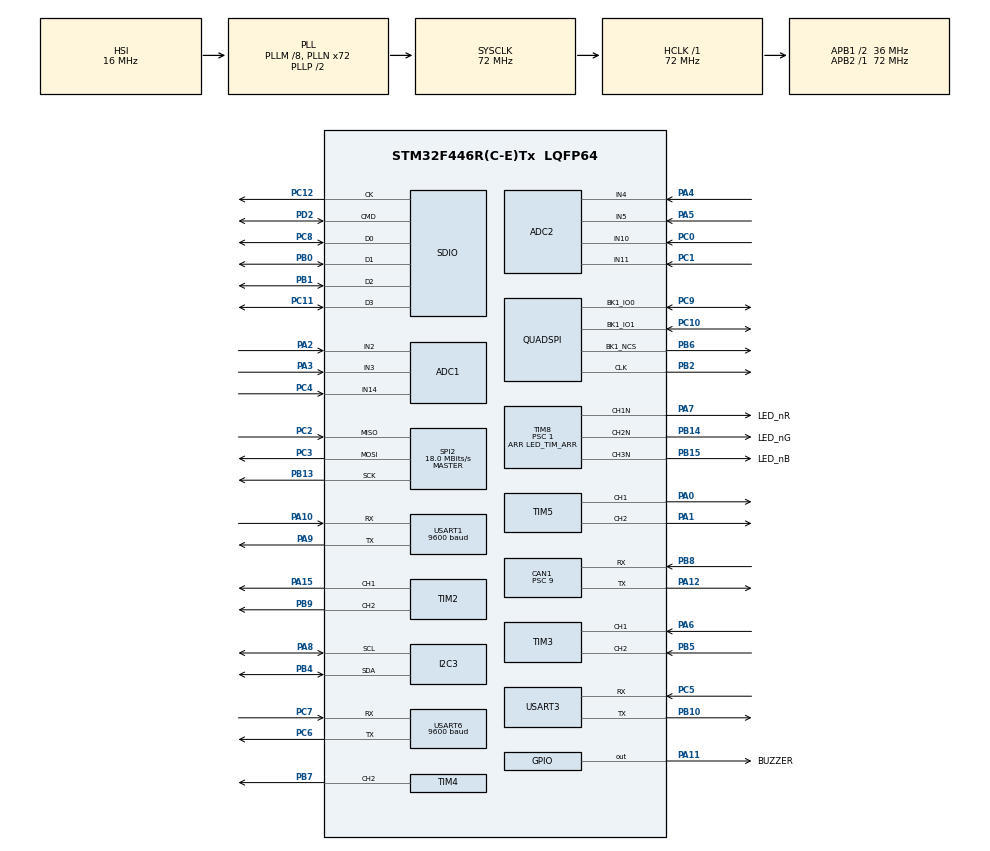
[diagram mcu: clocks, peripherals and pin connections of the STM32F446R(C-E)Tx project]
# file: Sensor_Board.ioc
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ADC1.Channel-95\#ChannelRegularConversion=ADC_CHANNEL_2
ADC1.NbrOfConversionFlag=1
ADC1.Rank-95\#ChannelRegularConversion=1
ADC1.SamplingTime-95\#ChannelRegularConversion=ADC_SAMPLETIME_3CYCLES
ADC1.master=1
ADC2.Channel-88\#ChannelRegularConversion=ADC_CHANNEL_4
ADC2.NbrOfConversionFlag=1
ADC2.Rank-88\#ChannelRegularConversion=1
ADC2.SamplingTime-88\#ChannelRegularConversion=ADC_SAMPLETIME_3CYCLES
CAN1.BS1=CAN_BS1_13TQ
CAN1.BS2=CAN_BS2_2TQ
CAN1.CalculateTimeQuantum=250.0
CAN1.Prescaler=9
Dma.I2C3_RX.2.Direction=DMA_PERIPH_TO_MEMORY
Dma.I2C3_RX.2.FIFOMode=DMA_FIFOMODE_DISABLE
Dma.I2C3_RX.2.Instance=DMA1_Stream2
Dma.I2C3_RX.2.MemDataAlignment=DMA_MDATAALIGN_BYTE
Dma.I2C3_RX.2.MemInc=DMA_MINC_ENABLE
Dma.I2C3_RX.2.Mode=DMA_NORMAL
Dma.I2C3_RX.2.PeriphDataAlignment=DMA_PDATAALIGN_BYTE
Dma.I2C3_RX.2.PeriphInc=DMA_PINC_DISABLE
Dma.I2C3_RX.2.Priority=DMA_PRIORITY_LOW
Dma.Request0=SDIO_RX
Dma.Request1=SDIO_TX
Dma.Request2=I2C3_RX
Dma.Request3=USART3_RX
Dma.Request4=USART3_TX
Dma.SDIO_RX.0.Direction=DMA_PERIPH_TO_MEMORY
Dma.SDIO_RX.0.FIFOMode=DMA_FIFOMODE_ENABLE
Dma.SDIO_RX.0.FIFOThreshold=DMA_FIFO_THRESHOLD_FULL
Dma.SDIO_RX.0.Instance=DMA2_Stream6
Dma.SDIO_RX.0.MemBurst=DMA_MBURST_INC4
Dma.SDIO_RX.0.MemDataAlignment=DMA_MDATAALIGN_WORD
Dma.SDIO_RX.0.MemInc=DMA_MINC_ENABLE
Dma.SDIO_RX.0.Mode=DMA_PFCTRL
Dma.SDIO_RX.0.PeriphBurst=DMA_PBURST_INC4
Dma.SDIO_RX.0.PeriphDataAlignment=DMA_PDATAALIGN_WORD
Dma.SDIO_RX.0.PeriphInc=DMA_PINC_DISABLE
Dma.SDIO_RX.0.Priority=DMA_PRIORITY_LOW
Dma.SDIO_TX.1.Direction=DMA_MEMORY_TO_PERIPH
Dma.SDIO_TX.1.FIFOMode=DMA_FIFOMODE_ENABLE
Dma.SDIO_TX.1.FIFOThreshold=DMA_FIFO_THRESHOLD_FULL
Dma.SDIO_TX.1.Instance=DMA2_Stream3
Dma.SDIO_TX.1.MemBurst=DMA_MBURST_INC4
Dma.SDIO_TX.1.MemDataAlignment=DMA_MDATAALIGN_WORD
Dma.SDIO_TX.1.MemInc=DMA_MINC_ENABLE
Dma.SDIO_TX.1.Mode=DMA_PFCTRL
Dma.SDIO_TX.1.PeriphBurst=DMA_PBURST_INC4
Dma.SDIO_TX.1.PeriphDataAlignment=DMA_PDATAALIGN_WORD
Dma.SDIO_TX.1.PeriphInc=DMA_PINC_DISABLE
Dma.SDIO_TX.1.Priority=DMA_PRIORITY_LOW
Dma.USART3_RX.3.Direction=DMA_PERIPH_TO_MEMORY
Dma.USART3_RX.3.FIFOMode=DMA_FIFOMODE_DISABLE
Dma.USART3_RX.3.Instance=DMA1_Stream1
Dma.USART3_RX.3.MemDataAlignment=DMA_MDATAALIGN_BYTE
Dma.USART3_RX.3.MemInc=DMA_MINC_ENABLE
Dma.USART3_RX.3.Mode=DMA_NORMAL
Dma.USART3_RX.3.PeriphDataAlignment=DMA_PDATAALIGN_BYTE
Dma.USART3_RX.3.PeriphInc=DMA_PINC_DISABLE
Dma.USART3_RX.3.Priority=DMA_PRIORITY_LOW
Dma.USART3_TX.4.Direction=DMA_MEMORY_TO_PERIPH
Dma.USART3_TX.4.FIFOMode=DMA_FIFOMODE_DISABLE
Dma.USART3_TX.4.Instance=DMA1_Stream4
Dma.USART3_TX.4.MemDataAlignment=DMA_MDATAALIGN_BYTE
Dma.USART3_TX.4.MemInc=DMA_MINC_ENABLE
Dma.USART3_TX.4.Mode=DMA_NORMAL
Dma.USART3_TX.4.PeriphDataAlignment=DMA_PDATAALIGN_BYTE
Dma.USART3_TX.4.PeriphInc=DMA_PINC_DISABLE
Dma.USART3_TX.4.Priority=DMA_PRIORITY_LOW
FATFS._USE_STRFUNC=0
FREERTOS.Tasks01=defaultTask,0,128,StartDefaultTask,Default,NULL,Dynamic,NULL,NULL;readCAN,0,128,StartReadCAN,Default,NULL,Dynamic,NULL,NULL
Mcu.Family=STM32F4
Mcu.Name=STM32F446R(C-E)Tx
Mcu.Package=LQFP64
Mcu.UserConstants=LED_TIM_ARR,1000
NVIC.DMA1_Stream1_IRQn=true\:5\:0\:false\:false\:true\:true\:false
NVIC.DMA1_Stream2_IRQn=true\:5\:0\:false\:false\:true\:true\:false
NVIC.DMA1_Stream4_IRQn=true\:5\:0\:false\:false\:true\:true\:false
NVIC.DMA2_Stream3_IRQn=true\:5\:0\:false\:false\:true\:true\:false
NVIC.DMA2_Stream6_IRQn=true\:5\:0\:false\:false\:true\:true\:false
NVIC.PriorityGroup=NVIC_PRIORITYGROUP_4
NVIC.SDIO_IRQn=true\:5\:0\:false\:false\:true\:true\:true
PA0-WKUP.Signal=S_TIM5_CH1
PA1.Signal=S_TIM5_CH2
PA10.Mode=Asynchronous
PA10.Signal=USART1_RX
PA11.GPIO_Label=BUZZER
PA11.Signal=GPIO_Output
PA12.Mode=Master
PA12.Signal=CAN1_TX
PA13.Mode=Trace_Asynchronous_SW
PA13.Signal=SYS_JTMS-SWDIO
PA14.Mode=Trace_Asynchronous_SW
PA14.Signal=SYS_JTCK-SWCLK
PA15.Signal=S_TIM2_CH1_ETR
PA2.Signal=ADCx_IN2
PA3.Signal=ADCx_IN3
PA4.Signal=ADCx_IN4
PA5.Signal=ADCx_IN5
PA6.Signal=S_TIM3_CH1
PA7.GPIO_Label=LED_nR
PA7.Mode=PWM Generation1 CH1N
PA7.Signal=TIM8_CH1N
PA8.Mode=I2C
PA8.Signal=I2C3_SCL
PA9.Mode=Asynchronous
PA9.Signal=USART1_TX
PB0.Mode=SD_4_bits_Wide_bus
PB0.Signal=SDIO_D1
PB1.Mode=SD_4_bits_Wide_bus
PB1.Signal=SDIO_D2
PB10.Mode=Asynchronous
PB10.Signal=USART3_TX
PB13.Mode=Full_Duplex_Master
PB13.Signal=SPI2_SCK
PB14.GPIO_Label=LED_nG
PB14.Mode=PWM Generation2 CH2N
PB14.Signal=TIM8_CH2N
PB15.GPIO_Label=LED_nB
PB15.Mode=PWM Generation3 CH3N
PB15.Signal=TIM8_CH3N
PB2.Mode=Single Bank 1 2IOs
PB2.Signal=QUADSPI_CLK
PB3.Mode=Trace_Asynchronous_SW
PB3.Signal=SYS_JTDO-SWO
PB4.Mode=I2C
PB4.Signal=I2C3_SDA
PB5.Signal=S_TIM3_CH2
PB6.Mode=Single Bank 1 2IOs
PB6.Signal=QUADSPI_BK1_NCS
PB7.Signal=S_TIM4_CH2
PB8.Mode=Master
PB8.Signal=CAN1_RX
PB9.Signal=S_TIM2_CH2
PC0.Signal=ADCx_IN10
PC1.Signal=ADCx_IN11
PC10.Mode=Single Bank 1 2IOs
PC10.Signal=QUADSPI_BK1_IO1
PC11.Mode=SD_4_bits_Wide_bus
PC11.Signal=SDIO_D3
PC12.Mode=SD_4_bits_Wide_bus
PC12.Signal=SDIO_CK
PC14-OSC32_IN.Mode=LSE-External-Oscillator
PC14-OSC32_IN.Signal=RCC_OSC32_IN
PC15-OSC32_OUT.Mode=LSE-External-Oscillator
PC15-OSC32_OUT.Signal=RCC_OSC32_OUT
PC2.Mode=Full_Duplex_Master
PC2.Signal=SPI2_MISO
PC3.Mode=Full_Duplex_Master
PC3.Signal=SPI2_MOSI
PC4.Signal=ADCx_IN14
PC5.Mode=Asynchronous
PC5.Signal=USART3_RX
PC6.Mode=Asynchronous
PC6.Signal=USART6_TX
PC7.Mode=Asynchronous
PC7.Signal=USART6_RX
PC8.Mode=SD_4_bits_Wide_bus
PC8.Signal=SDIO_D0
PC9.Mode=Single Bank 1 2IOs
PC9.Signal=QUADSPI_BK1_IO0
PD2.Mode=SD_4_bits_Wide_bus
PD2.Signal=SDIO_CMD
PH0-OSC_IN.Mode=HSE-External-Oscillator
PH0-OSC_IN.Signal=RCC_OSC_IN
PH1-OSC_OUT.Mode=HSE-External-Oscillator
PH1-OSC_OUT.Signal=RCC_OSC_OUT
ProjectManager.HeapSize=0x200
ProjectManager.StackSize=0x400
ProjectManager.TargetToolchain=SW4STM32
RCC.AHBFreq_Value=72000000
RCC.APB1CLKDivider=RCC_HCLK_DIV2
RCC.APB1Freq_Value=36000000
RCC.APB1TimFreq_Value=72000000
RCC.APB2Freq_Value=72000000
RCC.APB2TimFreq_Value=72000000
RCC.CortexFreq_Value=72000000
RCC.HCLKFreq_Value=72000000
RCC.HSE_VALUE=8000000
RCC.PLLM=8
RCC.PLLN=72
RCC.PLLQ=3
RCC.SYSCLKFreq_VALUE=72000000
RCC.SYSCLKSource=RCC_SYSCLKSOURCE_PLLCLK
RCC.USBFreq_Value=48000000
RCC.VCOOutputFreq_Value=144000000
SH.ADCx_IN10.0=ADC2_IN10,IN10
SH.ADCx_IN11.0=ADC2_IN11,IN11
SH.ADCx_IN14.0=ADC1_IN14,IN14
SH.ADCx_IN2.0=ADC1_IN2,IN2
SH.ADCx_IN3.0=ADC1_IN3,IN3
SH.ADCx_IN4.0=ADC2_IN4,IN4
SH.ADCx_IN5.0=ADC2_IN5,IN5
SH.S_TIM2_CH1_ETR.0=TIM2_CH1,Output Compare1 CH1
SH.S_TIM2_CH2.0=TIM2_CH2,Output Compare2 CH2
SH.S_TIM3_CH1.0=TIM3_CH1,TriggerSource_TI1FP1
SH.S_TIM3_CH2.0=TIM3_CH2,Input_Capture2_from_TI2
SH.S_TIM4_CH2.0=TIM4_CH2,Output Compare2 CH2
SH.S_TIM5_CH1.0=TIM5_CH1,Output Compare1 CH1
SH.S_TIM5_CH2.0=TIM5_CH2,Output Compare2 CH2
SPI2.BaudRatePrescaler=SPI_BAUDRATEPRESCALER_2
SPI2.CalculateBaudRate=18.0 MBits/s
SPI2.Direction=SPI_DIRECTION_2LINES
SPI2.Mode=SPI_MODE_MASTER
SPI2.VirtualType=VM_MASTER
TIM2.Channel-Output\ Compare1\ CH1=TIM_CHANNEL_1
TIM2.Channel-Output\ Compare2\ CH2=TIM_CHANNEL_2
TIM3.Channel-Input_Capture2_from_TI2=TIM_CHANNEL_2
TIM4.Channel-Output\ Compare2\ CH2=TIM_CHANNEL_2
TIM5.Channel-Output\ Compare1\ CH1=TIM_CHANNEL_1
TIM5.Channel-Output\ Compare2\ CH2=TIM_CHANNEL_2
TIM8.Channel-PWM\ Generation1\ CH1N=TIM_CHANNEL_1
TIM8.Channel-PWM\ Generation2\ CH2N=TIM_CHANNEL_2
TIM8.Channel-PWM\ Generation3\ CH3N=TIM_CHANNEL_3
TIM8.OCMode_PWM-PWM\ Generation1\ CH1N=TIM_OCMODE_PWM2
TIM8.OCMode_PWM-PWM\ Generation2\ CH2N=TIM_OCMODE_PWM2
TIM8.OCMode_PWM-PWM\ Generation3\ CH3N=TIM_OCMODE_PWM2
TIM8.Period=LED_TIM_ARR
TIM8.Prescaler=1
USART1.BaudRate=9600
USART1.VirtualMode=VM_ASYNC
USART3.VirtualMode=VM_ASYNC
USART6.BaudRate=9600
USART6.VirtualMode=VM_ASYNC
VP_FATFS_VS_SDIO.Mode=SDIO
VP_FREERTOS_VS_ENABLE.Mode=Enabled
VP_TIM1_VS_ClockSourceINT.Mode=Internal
VP_TIM2_VS_ClockSourceINT.Mode=Internal
VP_TIM3_VS_ControllerModeClock.Mode=Clock Mode
VP_TIM4_VS_ClockSourceINT.Mode=Internal
VP_TIM5_VS_ClockSourceINT.Mode=Internal
VP_TIM8_VS_ClockSourceINT.Mode=Internal
board=custom

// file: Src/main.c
/* USER CODE BEGIN Header */
/**
  ******************************************************************************
  * @file           : main.c
  * @brief          : Main program body
  ******************************************************************************
  ** This notice applies to any and all portions of this file
  * that are not between comment pairs USER CODE BEGIN and
  * USER CODE END. Other portions of this file, whether
  * inserted by the user or by software development tools
  * are owned by their respective copyright owners.
  *
  * COPYRIGHT(c) 2019 STMicroelectronics
  *
  * Redistribution and use in source and binary forms, with or without modification,
  * are permitted provided that the following conditions are met:
  *   1. Redistributions of source code must retain the above copyright notice,
  *      this list of conditions and the following disclaimer.
  *   2. Redistributions in binary form must reproduce the above copyright notice,
  *      this list of conditions and the following disclaimer in the documentation
  *      and/or other materials provided with the distribution.
  *   3. Neither the name of STMicroelectronics nor the names of its contributors
  *      may be used to endorse or promote products derived from this software
  *      without specific prior written permission.
  *
  * THIS SOFTWARE IS PROVIDED BY THE COPYRIGHT HOLDERS AND CONTRIBUTORS "AS IS"
  * AND ANY EXPRESS OR IMPLIED WARRANTIES, INCLUDING, BUT NOT LIMITED TO, THE
  * IMPLIED WARRANTIES OF MERCHANTABILITY AND FITNESS FOR A PARTICULAR PURPOSE ARE
  * DISCLAIMED. IN NO EVENT SHALL THE COPYRIGHT HOLDER OR CONTRIBUTORS BE LIABLE
  * FOR ANY DIRECT, INDIRECT, INCIDENTAL, SPECIAL, EXEMPLARY, OR CONSEQUENTIAL
  * DAMAGES (INCLUDING, BUT NOT LIMITED TO, PROCUREMENT OF SUBSTITUTE GOODS OR
  * SERVICES; LOSS OF USE, DATA, OR PROFITS; OR BUSINESS INTERRUPTION) HOWEVER
  * CAUSED AND ON ANY THEORY OF LIABILITY, WHETHER IN CONTRACT, STRICT LIABILITY,
  * OR TORT (INCLUDING NEGLIGENCE OR OTHERWISE) ARISING IN ANY WAY OUT OF THE USE
  * OF THIS SOFTWARE, EVEN IF ADVISED OF THE POSSIBILITY OF SUCH DAMAGE.
  *
  ******************************************************************************
  */
/* USER CODE END Header */

#include "main.h"
#include "cmsis_os.h"
#include "adc.h"
#include "can.h"
#include "dma.h"
#include "fatfs.h"
#include "i2c.h"
#include "quadspi.h"
#include "sdio.h"
#include "spi.h"
#include "tim.h"
#include "usart.h"
#include "gpio.h"

/* USER CODE BEGIN Includes */
#include "CAN_communication.h"
/* USER CODE END Includes */

void SystemClock_Config(void);
void MX_FREERTOS_Init(void);

int main(void)
{

  /* MCU Configuration--------------------------------------------------------*/

  /* Reset of all peripherals, Initializes the Flash interface and the Systick. */
  HAL_Init();

  /* Configure the system clock */
  SystemClock_Config();

  /* Initialize all configured peripherals */
  MX_GPIO_Init();
  MX_DMA_Init();
  MX_ADC1_Init();
  MX_ADC2_Init();
  MX_CAN1_Init();
  MX_I2C3_Init();
  MX_QUADSPI_Init();
  MX_SDIO_SD_Init();
  MX_SPI2_Init();
  MX_TIM1_Init();
  MX_TIM2_Init();
  MX_TIM3_Init();
  MX_TIM4_Init();
  MX_TIM5_Init();
  MX_TIM8_Init();
  MX_USART1_UART_Init();
  MX_USART3_UART_Init();
  MX_USART6_UART_Init();
  /* USER CODE BEGIN 2 */
  CAN_Config(ID_GPS_SENSOR);
  /* USER CODE END 2 */

  /* Call init function for freertos objects (in freertos.c) */
  MX_FREERTOS_Init();

  /* Start scheduler */
  osKernelStart();

  /* We should never get here as control is now taken by the scheduler */

  /* Infinite loop */
  while (1)
  {

    /* USER CODE BEGIN 3 */
	  osDelay(1000);
  }
  /* USER CODE END 3 */
}

void SystemClock_Config(void)
{
  RCC_OscInitTypeDef RCC_OscInitStruct = {0};
  RCC_ClkInitTypeDef RCC_ClkInitStruct = {0};
  RCC_PeriphCLKInitTypeDef PeriphClkInitStruct = {0};

  /**Configure the main internal regulator output voltage
  */
  __HAL_RCC_PWR_CLK_ENABLE();
  __HAL_PWR_VOLTAGESCALING_CONFIG(PWR_REGULATOR_VOLTAGE_SCALE3);
  /**Initializes the CPU, AHB and APB busses clocks
  */
  RCC_OscInitStruct.OscillatorType = RCC_OSCILLATORTYPE_HSI;
  RCC_OscInitStruct.HSIState = RCC_HSI_ON;
  RCC_OscInitStruct.HSICalibrationValue = RCC_HSICALIBRATION_DEFAULT;
  RCC_OscInitStruct.PLL.PLLState = RCC_PLL_ON;
  RCC_OscInitStruct.PLL.PLLSource = RCC_PLLSOURCE_HSI;
  RCC_OscInitStruct.PLL.PLLM = 8;
  RCC_OscInitStruct.PLL.PLLN = 72;
  RCC_OscInitStruct.PLL.PLLP = RCC_PLLP_DIV2;
  RCC_OscInitStruct.PLL.PLLQ = 3;
  RCC_OscInitStruct.PLL.PLLR = 2;
  if (HAL_RCC_OscConfig(&RCC_OscInitStruct) != HAL_OK)
  {
    Error_Handler();
  }
  /**Initializes the CPU, AHB and APB busses clocks
  */
  RCC_ClkInitStruct.ClockType = RCC_CLOCKTYPE_HCLK|RCC_CLOCKTYPE_SYSCLK
                              |RCC_CLOCKTYPE_PCLK1|RCC_CLOCKTYPE_PCLK2;
  RCC_ClkInitStruct.SYSCLKSource = RCC_SYSCLKSOURCE_PLLCLK;
  RCC_ClkInitStruct.AHBCLKDivider = RCC_SYSCLK_DIV1;
  RCC_ClkInitStruct.APB1CLKDivider = RCC_HCLK_DIV2;
  RCC_ClkInitStruct.APB2CLKDivider = RCC_HCLK_DIV1;

  if (HAL_RCC_ClockConfig(&RCC_ClkInitStruct, FLASH_LATENCY_2) != HAL_OK)
  {
    Error_Handler();
  }
  PeriphClkInitStruct.PeriphClockSelection = RCC_PERIPHCLK_SDIO|RCC_PERIPHCLK_CLK48;
  PeriphClkInitStruct.Clk48ClockSelection = RCC_CLK48CLKSOURCE_PLLQ;
  PeriphClkInitStruct.SdioClockSelection = RCC_SDIOCLKSOURCE_CLK48;
  if (HAL_RCCEx_PeriphCLKConfig(&PeriphClkInitStruct) != HAL_OK)
  {
    Error_Handler();
  }
}

void Error_Handler(void)
{
}

/************************ (C) COPYRIGHT STMicroelectronics *****END OF FILE****/

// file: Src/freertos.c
/* USER CODE BEGIN Header */
/**
  ******************************************************************************
  * File Name          : freertos.c
  * Description        : Code for freertos applications
  ******************************************************************************
  * This notice applies to any and all portions of this file
  * that are not between comment pairs USER CODE BEGIN and
  * USER CODE END. Other portions of this file, whether
  * inserted by the user or by software development tools
  * are owned by their respective copyright owners.
  *
  * Copyright (c) 2019 STMicroelectronics International N.V.
  * All rights reserved.
  *
  * Redistribution and use in source and binary forms, with or without
  * modification, are permitted, provided that the following conditions are met:
  *
  * 1. Redistribution of source code must retain the above copyright notice,
  *    this list of conditions and the following disclaimer.
  * 2. Redistributions in binary form must reproduce the above copyright notice,
  *    this list of conditions and the following disclaimer in the documentation
  *    and/or other materials provided with the distribution.
  * 3. Neither the name of STMicroelectronics nor the names of other
  *    contributors to this software may be used to endorse or promote products
  *    derived from this software without specific written permission.
  * 4. This software, including modifications and/or derivative works of this
  *    software, must execute solely and exclusively on microcontroller or
  *    microprocessor devices manufactured by or for STMicroelectronics.
  * 5. Redistribution and use of this software other than as permitted under
  *    this license is void and will automatically terminate your rights under
  *    this license.
  *
  * THIS SOFTWARE IS PROVIDED BY STMICROELECTRONICS AND CONTRIBUTORS "AS IS"
  * AND ANY EXPRESS, IMPLIED OR STATUTORY WARRANTIES, INCLUDING, BUT NOT
  * LIMITED TO, THE IMPLIED WARRANTIES OF MERCHANTABILITY, FITNESS FOR A
  * PARTICULAR PURPOSE AND NON-INFRINGEMENT OF THIRD PARTY INTELLECTUAL PROPERTY
  * RIGHTS ARE DISCLAIMED TO THE FULLEST EXTENT PERMITTED BY LAW. IN NO EVENT
  * SHALL STMICROELECTRONICS OR CONTRIBUTORS BE LIABLE FOR ANY DIRECT, INDIRECT,
  * INCIDENTAL, SPECIAL, EXEMPLARY, OR CONSEQUENTIAL DAMAGES (INCLUDING, BUT NOT
  * LIMITED TO, PROCUREMENT OF SUBSTITUTE GOODS OR SERVICES; LOSS OF USE, DATA,
  * OR PROFITS; OR BUSINESS INTERRUPTION) HOWEVER CAUSED AND ON ANY THEORY OF
  * LIABILITY, WHETHER IN CONTRACT, STRICT LIABILITY, OR TORT (INCLUDING
  * NEGLIGENCE OR OTHERWISE) ARISING IN ANY WAY OUT OF THE USE OF THIS SOFTWARE,
  * EVEN IF ADVISED OF THE POSSIBILITY OF SUCH DAMAGE.
  *
  ******************************************************************************
  */
/* USER CODE END Header */

#include "FreeRTOS.h"
#include "task.h"
#include "main.h"
#include "cmsis_os.h"

/* USER CODE BEGIN PD */
void buzzer_set(uint32_t duration, uint32_t wait) {
  HAL_GPIO_WritePin (BUZZER_GPIO_Port, BUZZER_Pin, GPIO_PIN_SET);
  osDelay(duration);
  HAL_GPIO_WritePin (BUZZER_GPIO_Port, BUZZER_Pin, GPIO_PIN_RESET);
  osDelay(wait);
}

void buzzer_init_beep() {
  buzzer_set(20,100);
  buzzer_set(20,100);
  buzzer_set(20,100);

  buzzer_set(100,1000);
  buzzer_set(100,1000);
  buzzer_set(100,1000);

}

void buzzer_idle_beep() {
	buzzer_set(100,10000);
}
/* USER CODE END PD */

/* USER CODE BEGIN Variables */
osThreadId sensorBoardHandle;

/* USER CODE END Variables */
osThreadId defaultTaskHandle;
osThreadId readCANHandle;

/* USER CODE BEGIN FunctionPrototypes */
extern void TK_sensor_board(void const * argument);

/* USER CODE END FunctionPrototypes */

void StartDefaultTask(void const * argument);
void StartReadCAN(void const * argument);

extern void MX_FATFS_Init(void);
void MX_FREERTOS_Init(void); /* (MISRA C 2004 rule 8.1) */

void MX_FREERTOS_Init(void) {

  /* Create the thread(s) */
  /* definition and creation of defaultTask */
  osThreadDef(defaultTask, StartDefaultTask, osPriorityNormal, 0, 128);
  defaultTaskHandle = osThreadCreate(osThread(defaultTask), NULL);

  /* definition and creation of readCAN */
  osThreadDef(readCAN, StartReadCAN, osPriorityNormal, 0, 128);
  readCANHandle = osThreadCreate(osThread(readCAN), NULL);

  /* USER CODE BEGIN RTOS_THREADS */
  /* add threads, ... */
  osThreadDef(sensor_board, TK_sensor_board, osPriorityNormal, 0, 1024);
  sensorBoardHandle = osThreadCreate(osThread(sensor_board), NULL);
  /* USER CODE END RTOS_THREADS */

}

void StartDefaultTask(void const * argument)
{
  /* init code for FATFS */
  MX_FATFS_Init();

  /* USER CODE BEGIN StartDefaultTask */
  buzzer_init_beep();
  /* Infinite loop */
  for(;;)
  {
    buzzer_idle_beep();
  }
  /* USER CODE END StartDefaultTask */
}

void StartReadCAN(void const * argument)
{
  for(;;)
  {
    osDelay(1);
  }
}

/************************ (C) COPYRIGHT STMicroelectronics *****END OF FILE****/
